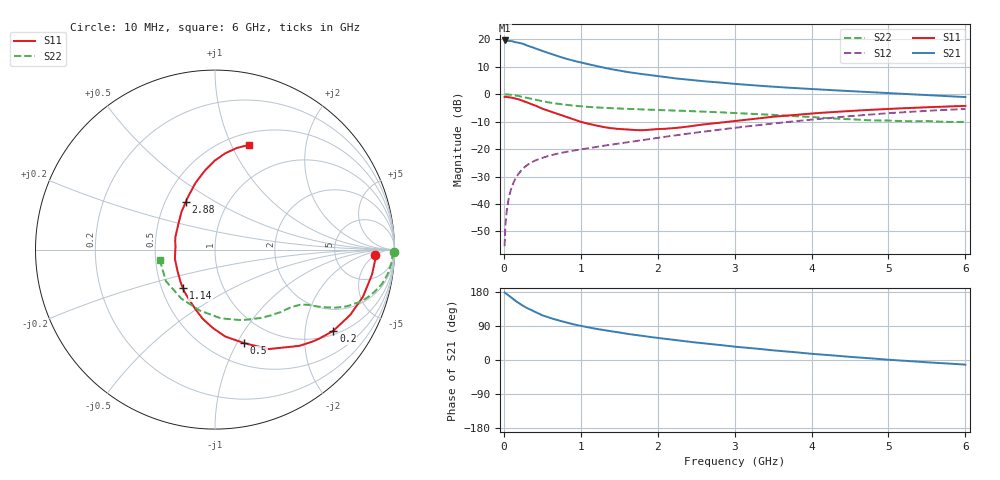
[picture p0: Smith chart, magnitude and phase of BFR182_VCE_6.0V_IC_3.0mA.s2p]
! Infineon Technologies  Discrete & RF Semiconductors
! BFR182
! VCE =  6.0 V,  IC =  3.0 mA
! Common Emitter S-Parameters:  Nov 2015
# GHz  S  MA  R  50
!  f  S11  S21  S12  S22
! GHz  MAG  ANG  MAG  ANG  MAG  ANG  MAG  ANG
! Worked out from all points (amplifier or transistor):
!   210 points, 10 MHz to 6 GHz, reference 50 ohm
!   highest |S21| = 19.6 dB at 10 MHz (marker M1)
!   |S21| within 3 dB of that: start of sweep to 421.5 MHz
!   unconditionally stable (mu >= 1): 1.314 GHz to 3.055 GHz
!   at 185 MHz: K = 0.23, MSG = 24.0 dB, |S12| = -29.3 dB
!   at 1.52 GHz: K = 1.04, MAG = 11.9 dB, |S12| = -17.9 dB
!   at 6 GHz: K = 0.88, MSG = 2.2 dB, |S12| = -5.4 dB
!   S11 on the Smith chart (normalised r, x): 10 MHz: 16, -5; 200 MHz: 1.13, -2.83; 500 MHz: 0.72, -1.07; 1.14 GHz: 0.64, -0.30; 2.88 GHz: 0.64, +0.37; 6 GHz: 0.62, +1.17
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0.01  0.8923 -1.9  9.528 178.4  0.0017 90.1  0.9946 -0.8
0.025  0.8927 -4.4  9.322 175.8  0.005 88.0  0.9889 -2.1
0.065  0.8777 -11.5  9.335 169.8  0.0128 82.5  0.9826 -5.2
0.1  0.8653 -17.7  9.321 164.5  0.0198 80.7  0.9728 -7.9
0.15  0.8367 -25.8  8.868 156.4  0.0288 75.6  0.9501 -11.6
0.2  0.8001 -34.4  8.667 149.5  0.0368 72.1  0.9206 -14.7
0.26  0.7472 -43.3  8.16 141.7  0.0457 67.3  0.8832 -18.0
0.3  0.7129 -48.8  7.727 137.2  0.0508 65.7  0.8583 -19.8
0.4  0.6299 -61.6  6.927 127.4  0.0612 60.7  0.799 -23.3
0.5  0.5457 -72.7  6.149 118.0  0.0691 57.7  0.7434 -25.8
0.6  0.4879 -83.2  5.502 111.1  0.0763 55.9  0.7001 -27.4
0.7  0.437 -91.6  4.946 105.0  0.0825 54.9  0.6678 -28.5
0.9  0.3488 -108.3  4.09 94.4  0.0935 54.0  0.6198 -30.1
1.02  0.3082 -119.1  3.726 89.3  0.0995 54.5  0.5975 -31.0
1.14  0.2801 -129.6  3.412 84.6  0.1058 55.1  0.5808 -31.9
1.6  0.229 -167.3  2.542 69.2  0.133 56.7  0.5422 -35.8
2.02  0.2317 162.1  2.111 57.8  0.162 57.9  0.5153 -40.7
2.88  0.3101 121.8  1.597 38.0  0.2329 56.2  0.4627 -54.6
3.1  0.3358 115.7  1.504 33.4  0.2528 54.9  0.4468 -59.3
4.1  0.4552 95.5  1.219 14.9  0.3544 46.6  0.3747 -88.5
5.1  0.5472 82.6  1.033 -0.6  0.4602 34.6  0.3259 -129.0
6  0.6123 72.2  0.886 -12.2  0.5371 21.2  0.3133 -169.6
